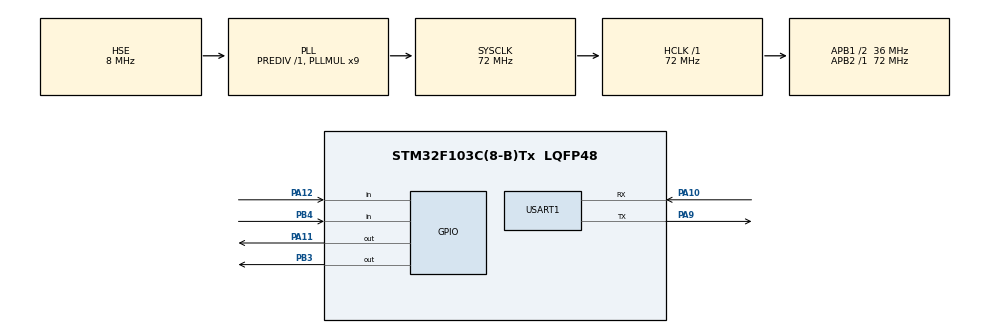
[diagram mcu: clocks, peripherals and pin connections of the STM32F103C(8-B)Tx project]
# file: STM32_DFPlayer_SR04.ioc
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Mcu.Family=STM32F1
Mcu.Name=STM32F103C(8-B)Tx
Mcu.Package=LQFP48
NVIC.PriorityGroup=NVIC_PRIORITYGROUP_4
PA10.Mode=Asynchronous
PA10.Signal=USART1_RX
PA11.GPIO_Speed=GPIO_SPEED_FREQ_HIGH
PA11.Signal=GPIO_Output
PA12.Signal=GPIO_Input
PA13.Mode=Serial_Wire
PA13.Signal=SYS_JTMS-SWDIO
PA14.Mode=Serial_Wire
PA14.Signal=SYS_JTCK-SWCLK
PA9.Mode=Asynchronous
PA9.Signal=USART1_TX
PB3.GPIO_Speed=GPIO_SPEED_FREQ_HIGH
PB3.Signal=GPIO_Output
PB4.Signal=GPIO_Input
PD0-OSC_IN.Mode=HSE-External-Oscillator
PD0-OSC_IN.Signal=RCC_OSC_IN
PD1-OSC_OUT.Mode=HSE-External-Oscillator
PD1-OSC_OUT.Signal=RCC_OSC_OUT
ProjectManager.HeapSize=0x200
ProjectManager.StackSize=0x400
ProjectManager.TargetToolchain=MDK-ARM V5.32
RCC.AHBFreq_Value=72000000
RCC.APB1CLKDivider=RCC_HCLK_DIV2
RCC.APB1Freq_Value=36000000
RCC.APB1TimFreq_Value=72000000
RCC.APB2Freq_Value=72000000
RCC.APB2TimFreq_Value=72000000
RCC.HCLKFreq_Value=72000000
RCC.PLLMUL=RCC_PLL_MUL9
RCC.PLLSourceVirtual=RCC_PLLSOURCE_HSE
RCC.SYSCLKFreq_VALUE=72000000
RCC.SYSCLKSource=RCC_SYSCLKSOURCE_PLLCLK
RCC.USBFreq_Value=72000000
TIM1.Prescaler=71
USART1.VirtualMode=VM_ASYNC
VP_TIM1_VS_ClockSourceINT.Mode=Internal
board=custom

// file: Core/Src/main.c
/* USER CODE BEGIN Header */
/**
  ******************************************************************************
  * @file           : main.c
  * @brief          : Main program body
  ******************************************************************************
  * @attention
  *
  * Copyright (c) 2024 STMicroelectronics.
  * All rights reserved.
  *
  * This software is licensed under terms that can be found in the LICENSE file
  * in the root directory of this software component.
  * If no LICENSE file comes with this software, it is provided AS-IS.
  *
  ******************************************************************************
  */
/* USER CODE END Header */
#include "main.h"

/* USER CODE BEGIN Includes */
#include "DFPLAYER.h"
/* USER CODE END Includes */

/* USER CODE BEGIN PD */
#define TRIG_PIN GPIO_PIN_3
#define TRIG_PORT GPIOB
#define ECHO_PIN GPIO_PIN_4
#define ECHO_PORT GPIOB
/* USER CODE END PD */

TIM_HandleTypeDef htim1;

UART_HandleTypeDef huart1;

/* USER CODE BEGIN PV */
DFPLAYER_Name MP3;
uint32_t Value;
/* USER CODE END PV */

void SystemClock_Config(void);
static void MX_GPIO_Init(void);
static void MX_TIM1_Init(void);
static void MX_USART1_UART_Init(void);
/* USER CODE BEGIN PFP */
uint32_t GetDistance(void);
void Spin(void);
/* USER CODE END PFP */

int main(void)
{

  /* MCU Configuration--------------------------------------------------------*/

  /* Reset of all peripherals, Initializes the Flash interface and the Systick. */
  HAL_Init();

  /* Configure the system clock */
  SystemClock_Config();

  /* Initialize all configured peripherals */
  MX_GPIO_Init();
  MX_TIM1_Init();
  MX_USART1_UART_Init();
  /* USER CODE BEGIN 2 */
  DFPLAYER_Init(&MP3, &huart1);
  DFPLAYER_SetVolume(&MP3, 60);
  /* USER CODE END 2 */

  /* Infinite loop */
  while (1)
  {

    /* USER CODE BEGIN 3 */
		Value = GetDistance();
	  if(Value < 6){
		  DFPLAYER_Play(&MP3);
		  Spin();
	  }
  }
  /* USER CODE END 3 */
}

void SystemClock_Config(void)
{
  RCC_OscInitTypeDef RCC_OscInitStruct = {0};
  RCC_ClkInitTypeDef RCC_ClkInitStruct = {0};

  /** Initializes the RCC Oscillators according to the specified parameters
  * in the RCC_OscInitTypeDef structure.
  */
  RCC_OscInitStruct.OscillatorType = RCC_OSCILLATORTYPE_HSE;
  RCC_OscInitStruct.HSEState = RCC_HSE_ON;
  RCC_OscInitStruct.HSEPredivValue = RCC_HSE_PREDIV_DIV1;
  RCC_OscInitStruct.HSIState = RCC_HSI_ON;
  RCC_OscInitStruct.PLL.PLLState = RCC_PLL_ON;
  RCC_OscInitStruct.PLL.PLLSource = RCC_PLLSOURCE_HSE;
  RCC_OscInitStruct.PLL.PLLMUL = RCC_PLL_MUL9;
  if (HAL_RCC_OscConfig(&RCC_OscInitStruct) != HAL_OK)
  {
    Error_Handler();
  }

  /** Initializes the CPU, AHB and APB buses clocks
  */
  RCC_ClkInitStruct.ClockType = RCC_CLOCKTYPE_HCLK|RCC_CLOCKTYPE_SYSCLK
                              |RCC_CLOCKTYPE_PCLK1|RCC_CLOCKTYPE_PCLK2;
  RCC_ClkInitStruct.SYSCLKSource = RCC_SYSCLKSOURCE_PLLCLK;
  RCC_ClkInitStruct.AHBCLKDivider = RCC_SYSCLK_DIV1;
  RCC_ClkInitStruct.APB1CLKDivider = RCC_HCLK_DIV2;
  RCC_ClkInitStruct.APB2CLKDivider = RCC_HCLK_DIV1;

  if (HAL_RCC_ClockConfig(&RCC_ClkInitStruct, FLASH_LATENCY_2) != HAL_OK)
  {
    Error_Handler();
  }
}

static void MX_TIM1_Init(void)
{

  TIM_ClockConfigTypeDef sClockSourceConfig = {0};
  TIM_MasterConfigTypeDef sMasterConfig = {0};

  htim1.Instance = TIM1;
  htim1.Init.Prescaler = 71;
  htim1.Init.CounterMode = TIM_COUNTERMODE_UP;
  htim1.Init.Period = 65535;
  htim1.Init.ClockDivision = TIM_CLOCKDIVISION_DIV1;
  htim1.Init.RepetitionCounter = 0;
  htim1.Init.AutoReloadPreload = TIM_AUTORELOAD_PRELOAD_DISABLE;
  if (HAL_TIM_Base_Init(&htim1) != HAL_OK)
  {
    Error_Handler();
  }
  sClockSourceConfig.ClockSource = TIM_CLOCKSOURCE_INTERNAL;
  if (HAL_TIM_ConfigClockSource(&htim1, &sClockSourceConfig) != HAL_OK)
  {
    Error_Handler();
  }
  sMasterConfig.MasterOutputTrigger = TIM_TRGO_RESET;
  sMasterConfig.MasterSlaveMode = TIM_MASTERSLAVEMODE_DISABLE;
  if (HAL_TIMEx_MasterConfigSynchronization(&htim1, &sMasterConfig) != HAL_OK)
  {
    Error_Handler();
  }

}

static void MX_USART1_UART_Init(void)
{

  huart1.Instance = USART1;
  huart1.Init.BaudRate = 115200;
  huart1.Init.WordLength = UART_WORDLENGTH_8B;
  huart1.Init.StopBits = UART_STOPBITS_1;
  huart1.Init.Parity = UART_PARITY_NONE;
  huart1.Init.Mode = UART_MODE_TX_RX;
  huart1.Init.HwFlowCtl = UART_HWCONTROL_NONE;
  huart1.Init.OverSampling = UART_OVERSAMPLING_16;
  if (HAL_UART_Init(&huart1) != HAL_OK)
  {
    Error_Handler();
  }

}

static void MX_GPIO_Init(void)
{
  GPIO_InitTypeDef GPIO_InitStruct = {0};

  /* GPIO Ports Clock Enable */
  __HAL_RCC_GPIOD_CLK_ENABLE();
  __HAL_RCC_GPIOA_CLK_ENABLE();
  __HAL_RCC_GPIOB_CLK_ENABLE();

  /*Configure GPIO pin Output Level */
  HAL_GPIO_WritePin(GPIOA, GPIO_PIN_11, GPIO_PIN_RESET);

  /*Configure GPIO pin Output Level */
  HAL_GPIO_WritePin(GPIOB, GPIO_PIN_3, GPIO_PIN_RESET);

  /*Configure GPIO pin : PA11 */
  GPIO_InitStruct.Pin = GPIO_PIN_11;
  GPIO_InitStruct.Mode = GPIO_MODE_OUTPUT_PP;
  GPIO_InitStruct.Pull = GPIO_NOPULL;
  GPIO_InitStruct.Speed = GPIO_SPEED_FREQ_HIGH;
  HAL_GPIO_Init(GPIOA, &GPIO_InitStruct);

  /*Configure GPIO pin : PA12 */
  GPIO_InitStruct.Pin = GPIO_PIN_12;
  GPIO_InitStruct.Mode = GPIO_MODE_INPUT;
  GPIO_InitStruct.Pull = GPIO_NOPULL;
  HAL_GPIO_Init(GPIOA, &GPIO_InitStruct);

  /*Configure GPIO pin : PB3 */
  GPIO_InitStruct.Pin = GPIO_PIN_3;
  GPIO_InitStruct.Mode = GPIO_MODE_OUTPUT_PP;
  GPIO_InitStruct.Pull = GPIO_NOPULL;
  GPIO_InitStruct.Speed = GPIO_SPEED_FREQ_HIGH;
  HAL_GPIO_Init(GPIOB, &GPIO_InitStruct);

  /*Configure GPIO pin : PB4 */
  GPIO_InitStruct.Pin = GPIO_PIN_4;
  GPIO_InitStruct.Mode = GPIO_MODE_INPUT;
  GPIO_InitStruct.Pull = GPIO_NOPULL;
  HAL_GPIO_Init(GPIOB, &GPIO_InitStruct);

}

/* USER CODE BEGIN 4 */
uint32_t GetDistance(void){
	 uint32_t pMillis;
	 uint32_t Value1 = 0;
	 uint32_t Value2 = 0;
	 uint16_t Distance  = 0;

	 HAL_TIM_Base_Start(&htim1);
	 HAL_GPIO_WritePin(TRIG_PORT, TRIG_PIN, GPIO_PIN_RESET);

	 HAL_GPIO_WritePin(TRIG_PORT, TRIG_PIN, GPIO_PIN_SET);  // pull the TRIG pin HIGH
	 __HAL_TIM_SET_COUNTER(&htim1, 0);
     while (__HAL_TIM_GET_COUNTER (&htim1) < 10);  // wait for 10 us
	 HAL_GPIO_WritePin(TRIG_PORT, TRIG_PIN, GPIO_PIN_RESET);  // pull the TRIG pin low

	 pMillis = HAL_GetTick(); // used this to avoid infinite while loop  (for timeout)
	 // wait for the echo pin to go high
	 while (!(HAL_GPIO_ReadPin (ECHO_PORT, ECHO_PIN)) && pMillis + 10 >  HAL_GetTick());
	 Value1 = __HAL_TIM_GET_COUNTER (&htim1);

	 pMillis = HAL_GetTick(); // used this to avoid infinite while loop (for timeout)
	 // wait for the echo pin to go low
	 while ((HAL_GPIO_ReadPin (ECHO_PORT, ECHO_PIN)) && pMillis + 50 > HAL_GetTick());
	 Value2 = __HAL_TIM_GET_COUNTER (&htim1);

	 Distance = (Value2-Value1)* 0.034/2;
	 HAL_Delay(50);

	 return Distance;
}

void Spin(void){
	HAL_GPIO_WritePin(GPIOA, GPIO_PIN_11, GPIO_PIN_SET);
	for(int i=0; i < 250; i++){
		HAL_GPIO_WritePin(GPIOA, GPIO_PIN_12, GPIO_PIN_SET);
		HAL_Delay(70);
		HAL_GPIO_WritePin(GPIOA, GPIO_PIN_12, GPIO_PIN_RESET);
		HAL_Delay(70);
	}
}
/* USER CODE END 4 */

void Error_Handler(void)
{
  __disable_irq();
  while (1)
  {
  }
}
